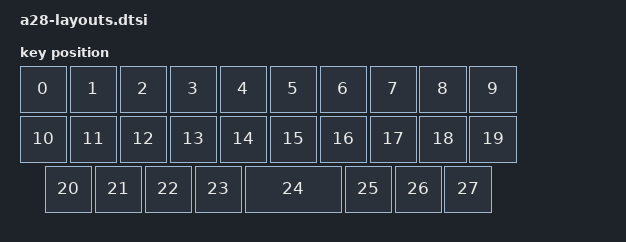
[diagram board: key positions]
#include <physical_layouts.dtsi>
/ {
    a28_0: a28_0 {
        compatible = "zmk,physical-layout";
	transform = <&a28_all_transform>;
        display-name = "Layout 0";

        keys  //                     w   h    x    y     rot    rx    ry
            = <&key_physical_attrs 100 100    0    0       0     0     0>
            , <&key_physical_attrs 100 100  100    0       0     0     0>
            , <&key_physical_attrs 100 100  200    0       0     0     0>
            , <&key_physical_attrs 100 100  300    0       0     0     0>
            , <&key_physical_attrs 100 100  400    0       0     0     0>
            , <&key_physical_attrs 100 100  500    0       0     0     0>
            , <&key_physical_attrs 100 100  600    0       0     0     0>
            , <&key_physical_attrs 100 100  700    0       0     0     0>
            , <&key_physical_attrs 100 100  800    0       0     0     0>
            , <&key_physical_attrs 100 100  900    0       0     0     0>
            , <&key_physical_attrs 100 100    0  100       0     0     0>
            , <&key_physical_attrs 100 100  100  100       0     0     0>
            , <&key_physical_attrs 100 100  200  100       0     0     0>
            , <&key_physical_attrs 100 100  300  100       0     0     0>
            , <&key_physical_attrs 100 100  400  100       0     0     0>
            , <&key_physical_attrs 100 100  500  100       0     0     0>
            , <&key_physical_attrs 100 100  600  100       0     0     0>
            , <&key_physical_attrs 100 100  700  100       0     0     0>
            , <&key_physical_attrs 100 100  800  100       0     0     0>
            , <&key_physical_attrs 100 100  900  100       0     0     0>
            , <&key_physical_attrs 100 100   50  200       0     0     0>
            , <&key_physical_attrs 100 100  150  200       0     0     0>
            , <&key_physical_attrs 100 100  250  200       0     0     0>
            , <&key_physical_attrs 100 100  350  200       0     0     0>
            , <&key_physical_attrs 200 100  450  200       0     0     0>
            , <&key_physical_attrs 100 100  650  200       0     0     0>
            , <&key_physical_attrs 100 100  750  200       0     0     0>
            , <&key_physical_attrs 100 100  850  200       0     0     0>
            ;
    };

    position_map {
        compatible = "zmk,physical-layout-position-map";

        layout_0 {
            physical-layout = <&a28_0>;
            positions = <>;
        };
    };
};
